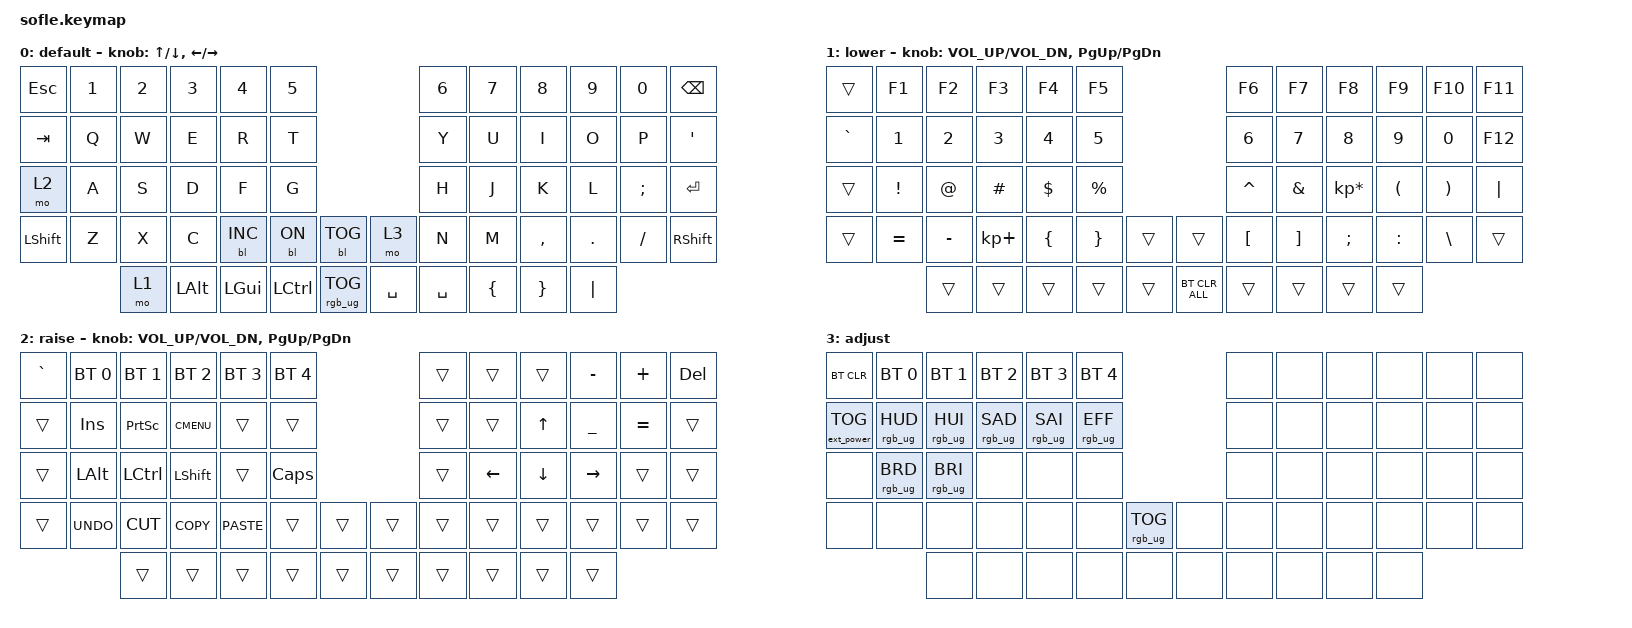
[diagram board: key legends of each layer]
/*
 * Copyright (c) 2020 The ZMK Contributors
 *
 * SPDX-License-Identifier: MIT
 */

#include <behaviors.dtsi>
#include <dt-bindings/zmk/backlight.h>
#include <dt-bindings/zmk/bt.h>
#include <dt-bindings/zmk/ext_power.h>
#include <dt-bindings/zmk/keys.h>
#include <dt-bindings/zmk/rgb.h>

#define BASE 0
#define LOWER 1
#define RAISE 2
#define ADJUST 3

/ {
    // Activate ADJUST layer by pressing raise and lower

    conditional_layers {
        compatible = "zmk,conditional-layers";

        adjust_layer {
            if-layers = <LOWER RAISE>;
            then-layer = <ADJUST>;
        };
    };

    combos {
        compatible = "zmk,combos";

        dau-tru {
            bindings = <&kp MINUS>;
            key-positions = <27 17>;
        };

        dau-cong {
            bindings = <&kp PLUS>;
            key-positions = <27 39>;
        };

        gach-duoi {
            bindings = <&kp UNDERSCORE>;
            key-positions = <29 27>;
        };

        dau-bang {
            bindings = <&kp EQUAL>;
            key-positions = <27 41>;
        };

        up {
            bindings = <&kp UP_ARROW>;
            key-positions = <59 34>;
        };

        down {
            bindings = <&kp DOWN_ARROW>;
            key-positions = <59 48>;
        };

        right {
            bindings = <&kp RIGHT>;
            key-positions = <49 59>;
        };

        left {
            bindings = <&kp LEFT_ARROW>;
            key-positions = <59 47>;
        };

        enter {
            bindings = <&kp ENTER>;
            key-positions = <54 53>;
        };

        delete {
            bindings = <&kp DELETE>;
            key-positions = <52 51>;
        };

        ctrl-backscape {
            bindings = <&kp LC(BACKSPACE)>;
            key-positions = <52 53>;
        };

        cham-tham {
            bindings = <&kp LS(EXCLAMATION)>;
            key-positions = <1 13>;
        };

        a-cong {
            bindings = <&kp AT_SIGN>;
            key-positions = <2 14>;
        };

        dau-thang {
            bindings = <&kp HASH>;
            key-positions = <3 15>;
        };

        do-la {
            bindings = <&kp DOLLAR>;
            key-positions = <4 16>;
        };

        phan-tram {
            bindings = <&kp PERCENT>;
            key-positions = <5 17>;
        };

        dau-mu {
            bindings = <&kp CARET>;
            key-positions = <6 18>;
        };

        dau-va {
            bindings = <&kp AMPERSAND>;
            key-positions = <7 19>;
        };

        dau-sao {
            bindings = <&kp ASTERISK>;
            key-positions = <8 20>;
        };

        ngoac-tron {
            bindings = <&kp LEFT_PARENTHESIS>;
            key-positions = <9 21>;
        };

        ngoac-tron-2 {
            bindings = <&kp RIGHT_PARENTHESIS>;
            key-positions = <10 22>;
        };

        ngoac-vuong {
            bindings = <&kp LEFT_BRACKET>;
            key-positions = <32 21>;
        };

        ngoac-vuong-2 {
            bindings = <&kp RIGHT_BRACKET>;
            key-positions = <32 22>;
        };

        ngoac-nhon {
            bindings = <&kp LEFT_BRACE>;
            key-positions = <20 9>;
        };

        ngoac-nhon-2 {
            bindings = <&kp RIGHT_BRACE>;
            key-positions = <20 10>;
        };

        dau-hoac {
            bindings = <&kp PIPE>;
            key-positions = <22 23>;
        };
    };

    keymap {
        compatible = "zmk,keymap";

        default_layer {
            label = "default";

            // ------------------------------------------------------------------------------------------------------------
            // |   `   |  1  |  2  |  3   |  4   |  5   |                   |  6   |  7    |  8    |  9   |   0   |       |
            // |  ESC  |  Q  |  W  |  E   |  R   |  T   |                   |  Y   |  U    |  I    |  O   |   P   | BKSPC |
            // |  TAB  |  A  |  S  |  D   |  F   |  G   |                   |  H   |  J    |  K    |  L   |   ;   |   '   |
            // | SHIFT |  Z  |  X  |  C   |  V   |  B   |  MUTE  |  |       |  N   |  M    |  ,    |  .   |   /   | SHIFT |
            //               | GUI | ALT  | CTRL | LOWER|  ENTER |  | SPACE | RAISE| CTRL  | ALT   | GUI  |

            bindings = <
&kp ESC    &kp N1  &kp N2  &kp N3    &kp N4        &kp N5                                   &kp N6     &kp N7          &kp N8           &kp N9    &kp N0    &kp BACKSPACE
&kp TAB    &kp Q   &kp W   &kp E     &kp R         &kp T                                    &kp Y      &kp U           &kp I            &kp O     &kp P     &kp SQT
&mo 2      &kp A   &kp S   &kp D     &kp F         &kp G                                    &kp H      &kp J           &kp K            &kp L     &kp SEMI  &kp ENTER
&kp LSHFT  &kp Z   &kp X   &kp C     &bl BL_INC    &bl BL_ON  &bl BL_TOG         &mo 3      &kp N      &kp M           &kp COMMA        &kp DOT   &kp FSLH  &kp RSHFT
                   &mo 1   &kp LALT  &kp LEFT_GUI  &kp LCTRL  &rgb_ug RGB_TOG    &kp SPACE  &kp SPACE  &kp LEFT_BRACE  &kp RIGHT_BRACE  &kp PIPE
            >;

            sensor-bindings =
                <&inc_dec_kp UP_ARROW DOWN_ARROW>,
                <&inc_dec_kp LEFT_ARROW RIGHT_ARROW>;
        };

        lower_layer {
            label = "lower";

            // TODO: Some binds are waiting for shifted keycode support.
            // ------------------------------------------------------------------------------------------------------------
            // |       |  F1 |  F2 |  F3  |  F4  |  F5  |                   |  F6  |  F7   |  F8   |  F9  |  F10  |  F11  |
            // |   `   |  1  |  2  |  3   |  4   |  5   |                   |  6   |  7    |  8    |  9   |   0   |  F12  |
            // |       |  !  |  @  |  #   |  $   |  %   |                   |  ^   |  &    |  *    |  (   |   )   |   |   |
            // |       |  =  |  -  |  +   |  {   |  }   |        |  |       |  [   |  ]    |  ;    |  :   |   \   |       |
            //               |     |      |      |      |        |  |       |      |       |       |      |

            bindings = <
&trans     &kp F1     &kp F2     &kp F3       &kp F4    &kp F5                               &kp F6     &kp F7    &kp F8           &kp F9     &kp F10   &kp F11
&kp GRAVE  &kp N1     &kp N2     &kp N3       &kp N4    &kp N5                               &kp N6     &kp N7    &kp N8           &kp N9     &kp N0    &kp F12
&trans     &kp EXCL   &kp AT     &kp HASH     &kp DLLR  &kp PRCNT                            &kp CARET  &kp AMPS  &kp KP_MULTIPLY  &kp LPAR   &kp RPAR  &kp PIPE
&trans     &kp EQUAL  &kp MINUS  &kp KP_PLUS  &kp LBRC  &kp RBRC   &trans    &trans          &kp LBKT   &kp RBKT  &kp SEMI         &kp COLON  &kp BSLH  &trans
                      &trans     &trans       &trans    &trans     &trans    &bt BT_CLR_ALL  &trans     &trans    &trans           &trans
            >;

            sensor-bindings = <&inc_dec_kp C_VOL_UP C_VOL_DN &inc_dec_kp PG_UP PG_DN>;
        };

        raise_layer {
            label = "raise";

            // ------------------------------------------------------------------------------------------------------------
            // | BTCLR | BT1  | BT2  |  BT3  |  BT4  |  BT5 |                |      |      |       |      |       |       |
            // |       | INS  | PSCR | GUI   |       |      |                | PGUP |      |   ^   |      |       |       |
            // |       | ALT  | CTRL | SHIFT |       | CAPS |                | PGDN |   <- |   v   |  ->  |  DEL  | BKSPC |
            // |       | UNDO | CUT  | COPY  | PASTE |      |      |  |      |      |      |       |      |       |       |
            //                |      |       |       |      |      |  |      |      |      |       |      |

            bindings = <
&kp GRAVE  &bt BT_SEL 0  &bt BT_SEL 1  &bt BT_SEL 2  &bt BT_SEL 3  &bt BT_SEL 4                    &trans  &trans    &trans    &kp MINUS       &kp PLUS   &kp DELETE
&trans     &kp INS       &kp PSCRN     &kp K_CMENU   &trans        &trans                          &trans  &trans    &kp UP    &kp UNDERSCORE  &kp EQUAL  &trans
&trans     &kp LALT      &kp LCTRL     &kp LSHFT     &trans        &kp CLCK                        &trans  &kp LEFT  &kp DOWN  &kp RIGHT       &trans     &trans
&trans     &kp K_UNDO    &kp K_CUT     &kp K_COPY    &kp K_PASTE   &trans        &trans    &trans  &trans  &trans    &trans    &trans          &trans     &trans
                         &trans        &trans        &trans        &trans        &trans    &trans  &trans  &trans    &trans    &trans
            >;

            sensor-bindings = <&inc_dec_kp C_VOL_UP C_VOL_DN &inc_dec_kp PG_UP PG_DN>;
        };

        adjust_layer {
            // ----------------------------------------------------------------------------------------------------------------------------
            // | BTCLR  |  BT1    |  BT2    |   BT3   |   BT4   |   BT5   |                  |      |      |       |      |       |       |
            // | EXTPWR | RGB_HUD | RGB_HUI | RGB_SAD | RGB_SAI | RGB_EFF |                  |      |      |       |      |       |       |
            // |        | RGB_BRD | RGB_BRI |         |         |         |                  |      |      |       |      |       |       |
            // |        |         |         |         |         |         | RGB_TOG | |      |      |      |       |      |       |       |
            //                    |         |         |         |         |         | |      |      |      |       |      |

            label = "adjust";
            bindings = <
&bt BT_CLR         &bt BT_SEL 0     &bt BT_SEL 1     &bt BT_SEL 2     &bt BT_SEL 3     &bt BT_SEL 4                               &none  &none  &none  &none  &none  &none
&ext_power EP_TOG  &rgb_ug RGB_HUD  &rgb_ug RGB_HUI  &rgb_ug RGB_SAD  &rgb_ug RGB_SAI  &rgb_ug RGB_EFF                            &none  &none  &none  &none  &none  &none
&none              &rgb_ug RGB_BRD  &rgb_ug RGB_BRI  &none            &none            &none                                      &none  &none  &none  &none  &none  &none
&none              &none            &none            &none            &none            &none            &rgb_ug RGB_TOG    &none  &none  &none  &none  &none  &none  &none
                                    &none            &none            &none            &none            &none              &none  &none  &none  &none  &none
            >;
        };
    };
};
